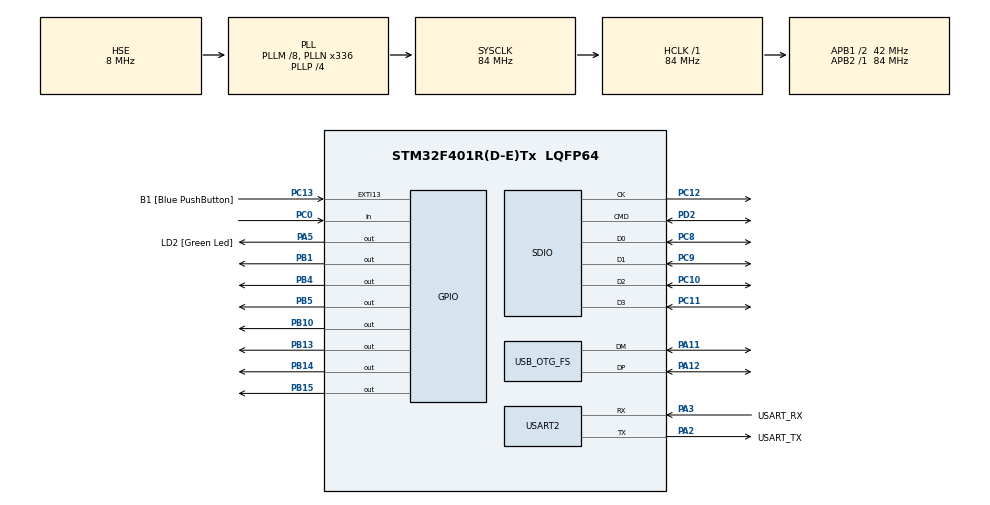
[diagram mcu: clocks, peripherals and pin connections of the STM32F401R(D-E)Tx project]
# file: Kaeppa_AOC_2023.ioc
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FATFS.BSP.number=1
FATFS0.BSP.STBoard=false
FATFS0.BSP.api=Unknown
FATFS0.BSP.i2caddr=0
FATFS0.BSP.instance=PC0
FATFS0.BSP.ip=GPIO
FATFS0.BSP.mode=Input
FATFS0.BSP.name=Detect_SDIO
FATFS0.BSP.solution=PC0
Mcu.Family=STM32F4
Mcu.Name=STM32F401R(D-E)Tx
Mcu.Package=LQFP64
NVIC.OTG_FS_IRQn=true\:0\:0\:false\:false\:true\:false\:true\:true
NVIC.PriorityGroup=NVIC_PRIORITYGROUP_0
PA11.Mode=Device_Only
PA11.Signal=USB_OTG_FS_DM
PA12.Mode=Device_Only
PA12.Signal=USB_OTG_FS_DP
PA13.GPIO_Label=TMS
PA13.Mode=Serial_Wire
PA13.Signal=SYS_JTMS-SWDIO
PA14.GPIO_Label=TCK
PA14.Mode=Serial_Wire
PA14.Signal=SYS_JTCK-SWCLK
PA2.GPIO_Label=USART_TX
PA2.GPIO_Mode=GPIO_MODE_AF_PP
PA2.GPIO_PuPd=GPIO_NOPULL
PA2.GPIO_Speed=GPIO_SPEED_FREQ_LOW
PA2.Mode=Asynchronous
PA2.Signal=USART2_TX
PA3.GPIO_Label=USART_RX
PA3.GPIO_Mode=GPIO_MODE_AF_PP
PA3.GPIO_PuPd=GPIO_NOPULL
PA3.GPIO_Speed=GPIO_SPEED_FREQ_LOW
PA3.Mode=Asynchronous
PA3.Signal=USART2_RX
PA5.GPIO_Label=LD2 [Green Led]
PA5.GPIO_Mode=GPIO_MODE_OUTPUT_PP
PA5.GPIO_PuPd=GPIO_NOPULL
PA5.GPIO_Speed=GPIO_SPEED_FREQ_LOW
PA5.Signal=GPIO_Output
PB1.Signal=GPIO_Output
PB10.Signal=GPIO_Output
PB13.Signal=GPIO_Output
PB14.Signal=GPIO_Output
PB15.Signal=GPIO_Output
PB3.GPIO_Label=SWO
PB3.Signal=SYS_JTDO-SWO
PB4.Signal=GPIO_Output
PB5.Signal=GPIO_Output
PC0.Signal=GPIO_Input
PC10.GPIO_PuPd=GPIO_PULLUP
PC10.Mode=SD_4_bits_Wide_bus
PC10.Signal=SDIO_D2
PC11.GPIO_PuPd=GPIO_PULLUP
PC11.Mode=SD_4_bits_Wide_bus
PC11.Signal=SDIO_D3
PC12.GPIO_PuPd=GPIO_PULLUP
PC12.Mode=SD_4_bits_Wide_bus
PC12.Signal=SDIO_CK
PC13-ANTI_TAMP.GPIO_Label=B1 [Blue PushButton]
PC13-ANTI_TAMP.GPIO_ModeDefaultEXTI=GPIO_MODE_IT_FALLING
PC13-ANTI_TAMP.GPIO_PuPd=GPIO_NOPULL
PC13-ANTI_TAMP.Signal=GPXTI13
PC14-OSC32_IN.Mode=LSE-External-Oscillator
PC14-OSC32_IN.Signal=RCC_OSC32_IN
PC15-OSC32_OUT.Mode=LSE-External-Oscillator
PC15-OSC32_OUT.Signal=RCC_OSC32_OUT
PC8.GPIO_PuPd=GPIO_PULLUP
PC8.Mode=SD_4_bits_Wide_bus
PC8.Signal=SDIO_D0
PC9.GPIO_PuPd=GPIO_PULLUP
PC9.Mode=SD_4_bits_Wide_bus
PC9.Signal=SDIO_D1
PD2.GPIO_PuPd=GPIO_PULLUP
PD2.Mode=SD_4_bits_Wide_bus
PD2.Signal=SDIO_CMD
PH0\ -\ OSC_IN.Mode=HSE-External-Clock-Source
PH0\ -\ OSC_IN.Signal=RCC_OSC_IN
PH1\ -\ OSC_OUT.Mode=HSE-External-Clock-Source
PH1\ -\ OSC_OUT.Signal=RCC_OSC_OUT
ProjectManager.HeapSize=0x200
ProjectManager.StackSize=0x400
ProjectManager.TargetToolchain=STM32CubeIDE
RCC.48MHZClocksFreq_Value=48000000
RCC.AHBFreq_Value=84000000
RCC.APB1CLKDivider=RCC_HCLK_DIV2
RCC.APB1Freq_Value=42000000
RCC.APB1TimFreq_Value=84000000
RCC.APB2Freq_Value=84000000
RCC.APB2TimFreq_Value=84000000
RCC.CortexFreq_Value=84000000
RCC.HCLKFreq_Value=84000000
RCC.HSE_VALUE=8000000
RCC.HSI_VALUE=16000000
RCC.PLLM=8
RCC.PLLN=336
RCC.PLLP=RCC_PLLP_DIV4
RCC.PLLQ=7
RCC.SYSCLKFreq_VALUE=84000000
RCC.SYSCLKSource=RCC_SYSCLKSOURCE_PLLCLK
RCC.VCOOutputFreq_Value=336000000
SDIO.ClockDiv=20
USART2.VirtualMode=VM_ASYNC
USB_DEVICE.CLASS_NAME_FS=MSC
USB_DEVICE.VirtualMode-MSC_FS=Msc
USB_DEVICE.VirtualModeFS=Msc_FS
USB_OTG_FS.VirtualMode=Device_Only
VP_FATFS_VS_SDIO.Mode=SDIO
VP_USB_DEVICE_VS_USB_DEVICE_MSC_FS.Mode=MSC_FS
board=NUCLEO-F401RE

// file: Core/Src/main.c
/* USER CODE BEGIN Header */
/**
  ******************************************************************************
  * @file           : main.c
  * @brief          : Main program body
  ******************************************************************************
  * @attention
  *
  * Copyright (c) 2023 STMicroelectronics.
  * All rights reserved.
  *
  * This software is licensed under terms that can be found in the LICENSE file
  * in the root directory of this software component.
  * If no LICENSE file comes with this software, it is provided AS-IS.
  *
  ******************************************************************************
  */
/* USER CODE END Header */
#include "main.h"
#include "fatfs.h"
#include "usb_device.h"

/* USER CODE BEGIN Includes */
#include <stdio.h>
#include <File_Handling.h>
#include <advent_of_code.h>
#include <LiquidCrystal.h>
#include <ui.h>
/* USER CODE END Includes */

 SD_HandleTypeDef hsd;

UART_HandleTypeDef huart2;

/* USER CODE BEGIN PV */

#ifdef __GNUC__
#define PUTCHAR_PROTOTYPE int __io_putchar(int ch)
#else
#define PUTCHAR_PROTOTYPE int fputc(int ch, FILE *f)
#endif

PUTCHAR_PROTOTYPE
{
  HAL_UART_Transmit(&huart2, (uint8_t *)&ch, 1, HAL_MAX_DELAY);
  return ch;
}

/* USER CODE END PV */

void SystemClock_Config(void);
static void MX_GPIO_Init(void);
static void MX_USART2_UART_Init(void);
static void MX_SDIO_SD_Init(void);

int main(void)
{

  /* MCU Configuration--------------------------------------------------------*/

  /* Reset of all peripherals, Initializes the Flash interface and the Systick. */
  HAL_Init();

  /* Configure the system clock */
  SystemClock_Config();

  /* Initialize all configured peripherals */
  MX_GPIO_Init();
  MX_USART2_UART_Init();
  MX_USB_DEVICE_Init();
  MX_SDIO_SD_Init();
  MX_FATFS_Init();
  /* USER CODE BEGIN 2 */

  printf("\033[2J");	// Clear terminal
  printf("\033[H");		// Move to home
  printf("Starting Advent of Code 2023 on STM32f401\r\n");

  LiquidCrystal(GPIOB, GPIO_PIN_13, 255, GPIO_PIN_14, GPIO_PIN_15, GPIO_PIN_5, GPIO_PIN_4, GPIO_PIN_10);

  printStringInt("Advent of Code", 2023, true);

  run_Advent_of_code();

  /* USER CODE END 2 */

  /* Infinite loop */
  /* USER CODE BEGIN WHILE */
  while (1)
  {
	  HAL_GPIO_WritePin(LD2_GPIO_Port, LD2_Pin, GPIO_PIN_RESET);
	  HAL_Delay(500);
	  HAL_GPIO_WritePin(LD2_GPIO_Port, LD2_Pin, GPIO_PIN_SET);
	  HAL_Delay(500);
    /* USER CODE END WHILE */

  }
}

void SystemClock_Config(void)
{
  RCC_OscInitTypeDef RCC_OscInitStruct = {0};
  RCC_ClkInitTypeDef RCC_ClkInitStruct = {0};

  /** Configure the main internal regulator output voltage
  */
  __HAL_RCC_PWR_CLK_ENABLE();
  __HAL_PWR_VOLTAGESCALING_CONFIG(PWR_REGULATOR_VOLTAGE_SCALE2);

  /** Initializes the RCC Oscillators according to the specified parameters
  * in the RCC_OscInitTypeDef structure.
  */
  RCC_OscInitStruct.OscillatorType = RCC_OSCILLATORTYPE_HSE;
  RCC_OscInitStruct.HSEState = RCC_HSE_BYPASS;
  RCC_OscInitStruct.PLL.PLLState = RCC_PLL_ON;
  RCC_OscInitStruct.PLL.PLLSource = RCC_PLLSOURCE_HSE;
  RCC_OscInitStruct.PLL.PLLM = 8;
  RCC_OscInitStruct.PLL.PLLN = 336;
  RCC_OscInitStruct.PLL.PLLP = RCC_PLLP_DIV4;
  RCC_OscInitStruct.PLL.PLLQ = 7;
  if (HAL_RCC_OscConfig(&RCC_OscInitStruct) != HAL_OK)
  {
    Error_Handler();
  }

  /** Initializes the CPU, AHB and APB buses clocks
  */
  RCC_ClkInitStruct.ClockType = RCC_CLOCKTYPE_HCLK|RCC_CLOCKTYPE_SYSCLK
                              |RCC_CLOCKTYPE_PCLK1|RCC_CLOCKTYPE_PCLK2;
  RCC_ClkInitStruct.SYSCLKSource = RCC_SYSCLKSOURCE_PLLCLK;
  RCC_ClkInitStruct.AHBCLKDivider = RCC_SYSCLK_DIV1;
  RCC_ClkInitStruct.APB1CLKDivider = RCC_HCLK_DIV2;
  RCC_ClkInitStruct.APB2CLKDivider = RCC_HCLK_DIV1;

  if (HAL_RCC_ClockConfig(&RCC_ClkInitStruct, FLASH_LATENCY_2) != HAL_OK)
  {
    Error_Handler();
  }
}

static void MX_SDIO_SD_Init(void)
{

  hsd.Instance = SDIO;
  hsd.Init.ClockEdge = SDIO_CLOCK_EDGE_RISING;
  hsd.Init.ClockBypass = SDIO_CLOCK_BYPASS_DISABLE;
  hsd.Init.ClockPowerSave = SDIO_CLOCK_POWER_SAVE_DISABLE;
  hsd.Init.BusWide = SDIO_BUS_WIDE_1B;
  hsd.Init.HardwareFlowControl = SDIO_HARDWARE_FLOW_CONTROL_DISABLE;
  hsd.Init.ClockDiv = 20;

}

static void MX_USART2_UART_Init(void)
{

  huart2.Instance = USART2;
  huart2.Init.BaudRate = 115200;
  huart2.Init.WordLength = UART_WORDLENGTH_8B;
  huart2.Init.StopBits = UART_STOPBITS_1;
  huart2.Init.Parity = UART_PARITY_NONE;
  huart2.Init.Mode = UART_MODE_TX_RX;
  huart2.Init.HwFlowCtl = UART_HWCONTROL_NONE;
  huart2.Init.OverSampling = UART_OVERSAMPLING_16;
  if (HAL_UART_Init(&huart2) != HAL_OK)
  {
    Error_Handler();
  }

}

static void MX_GPIO_Init(void)
{
  GPIO_InitTypeDef GPIO_InitStruct = {0};

  /* GPIO Ports Clock Enable */
  __HAL_RCC_GPIOC_CLK_ENABLE();
  __HAL_RCC_GPIOH_CLK_ENABLE();
  __HAL_RCC_GPIOA_CLK_ENABLE();
  __HAL_RCC_GPIOB_CLK_ENABLE();
  __HAL_RCC_GPIOD_CLK_ENABLE();

  /*Configure GPIO pin Output Level */
  HAL_GPIO_WritePin(LD2_GPIO_Port, LD2_Pin, GPIO_PIN_RESET);

  /*Configure GPIO pin Output Level */
  HAL_GPIO_WritePin(GPIOB, GPIO_PIN_1|GPIO_PIN_10|GPIO_PIN_13|GPIO_PIN_14
                          |GPIO_PIN_15|GPIO_PIN_4|GPIO_PIN_5, GPIO_PIN_RESET);

  /*Configure GPIO pin : B1_Pin */
  GPIO_InitStruct.Pin = B1_Pin;
  GPIO_InitStruct.Mode = GPIO_MODE_IT_FALLING;
  GPIO_InitStruct.Pull = GPIO_NOPULL;
  HAL_GPIO_Init(B1_GPIO_Port, &GPIO_InitStruct);

  /*Configure GPIO pin : PC0 */
  GPIO_InitStruct.Pin = GPIO_PIN_0;
  GPIO_InitStruct.Mode = GPIO_MODE_INPUT;
  GPIO_InitStruct.Pull = GPIO_NOPULL;
  HAL_GPIO_Init(GPIOC, &GPIO_InitStruct);

  /*Configure GPIO pin : LD2_Pin */
  GPIO_InitStruct.Pin = LD2_Pin;
  GPIO_InitStruct.Mode = GPIO_MODE_OUTPUT_PP;
  GPIO_InitStruct.Pull = GPIO_NOPULL;
  GPIO_InitStruct.Speed = GPIO_SPEED_FREQ_LOW;
  HAL_GPIO_Init(LD2_GPIO_Port, &GPIO_InitStruct);

  /*Configure GPIO pins : PB1 PB10 PB13 PB14
                           PB15 PB4 PB5 */
  GPIO_InitStruct.Pin = GPIO_PIN_1|GPIO_PIN_10|GPIO_PIN_13|GPIO_PIN_14
                          |GPIO_PIN_15|GPIO_PIN_4|GPIO_PIN_5;
  GPIO_InitStruct.Mode = GPIO_MODE_OUTPUT_PP;
  GPIO_InitStruct.Pull = GPIO_NOPULL;
  GPIO_InitStruct.Speed = GPIO_SPEED_FREQ_LOW;
  HAL_GPIO_Init(GPIOB, &GPIO_InitStruct);

}

void Error_Handler(void)
{
  /* USER CODE BEGIN Error_Handler_Debug */
  /* User can add his own implementation to report the HAL error return state */
  __disable_irq();
  clear();
  setCursor(0,0);
  print("Voi raka");
  setCursor(0,1);
  print("Fault handler");
  while (1)
  {
  }
  /* USER CODE END Error_Handler_Debug */
}
